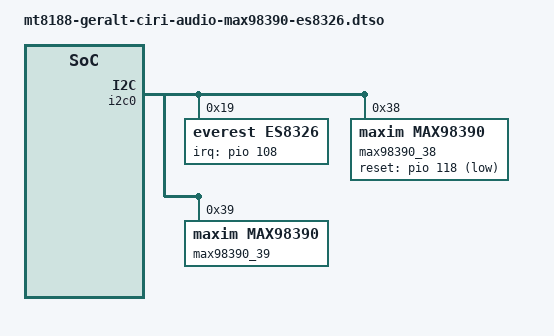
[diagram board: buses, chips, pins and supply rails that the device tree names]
// SPDX-License-Identifier: (GPL-2.0 OR MIT)
/*
 * Copyright 2023 Google LLC
 */
#include <dt-bindings/gpio/gpio.h>
#include <dt-bindings/interrupt-controller/irq.h>
/dts-v1/;
/plugin/;

&i2c0 {
	#address-cells = <1>;
	#size-cells = <0>;

	es8326: audio-codec@19 {
		compatible = "everest,es8326";
		reg = <0x19>;
		interrupts-extended = <&pio 108 IRQ_TYPE_LEVEL_LOW>;
		pinctrl-names = "default";
		pinctrl-0 = <&audio_codec_pins>;
		#sound-dai-cells = <0>;
		everest,jack-pol = [0e];
		everest,interrupt-clk = [00];
	};

	max98390_38: amplifier@38 {
		compatible = "maxim,max98390";
		reg = <0x38>;
		sound-name-prefix = "Front Right";
		reset-gpios = <&pio 118 GPIO_ACTIVE_LOW>;
		pinctrl-names = "default";
		pinctrl-0 = <&speaker_en>;
		#sound-dai-cells = <0>;
	};

	max98390_39: amplifier@39 {
		compatible = "maxim,max98390";
		reg = <0x39>;
		sound-name-prefix = "Front Left";
		#sound-dai-cells = <0>;
	};
};

&sound {
	compatible = "mediatek,mt8188-es8326";
	model = "mt8188_m98390_8326";

	audio-routing =
		"ETDM1_OUT", "ETDM_SPK_PIN",
		"ETDM2_OUT", "ETDM_HP_PIN",
		"ETDM1_IN", "ETDM_SPK_PIN",
		"ETDM2_IN", "ETDM_HP_PIN",
		"ADDA Capture", "MTKAIF_PIN",
		"Headphone Jack", "HPOL",
		"Headphone Jack", "HPOR",
		"MIC1", "Headset Mic",
		"Left Spk", "Front Left BE_OUT",
		"Right Spk", "Front Right BE_OUT";

	dai-link-1 {
		codec {
			sound-dai = <&max98390_38>,
				    <&max98390_39>;
		};
	};

	dai-link-2 {
		codec {
			sound-dai = <&es8326>;
		};
	};

	dai-link-3 {
		codec {
			sound-dai = <&es8326>;
		};
	};
};
